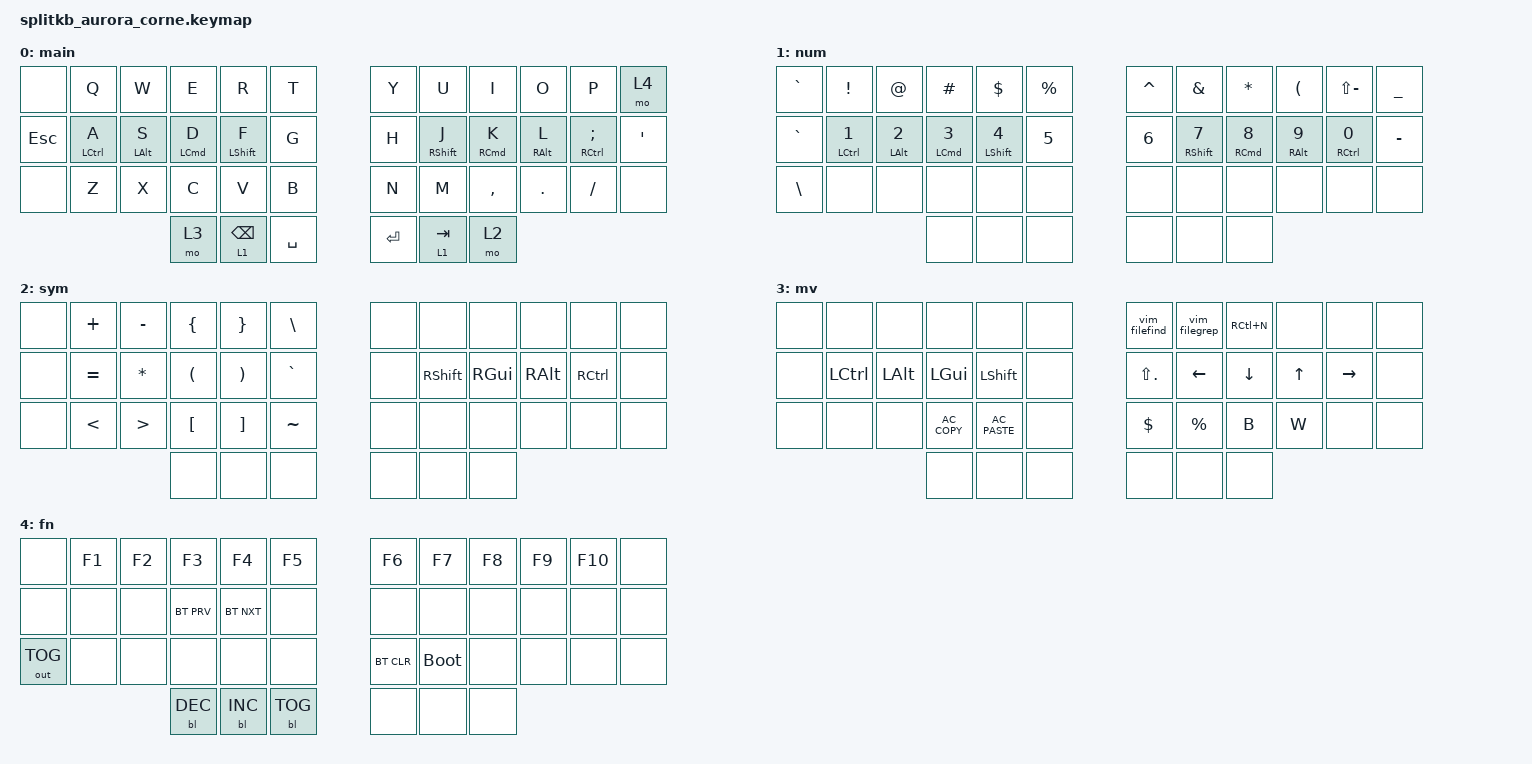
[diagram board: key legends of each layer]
/*
 * Copyright (c) 2020 The ZMK Contributors
 *
 * SPDX-License-Identifier: MIT
 */

#include <behaviors.dtsi>
#include <dt-bindings/zmk/backlight.h>
#include <dt-bindings/zmk/bt.h>
#include <dt-bindings/zmk/keys.h>
#include <dt-bindings/zmk/outputs.h>

&mt {
    tapping-term-ms = <400>;
    flavor = "balanced";
};

/ {
    macros {
        vim_filefind: vim_filefind {
            compatible = "zmk,behavior-macro";
            #binding-cells = <0>;
            bindings = <&kp SPACE &kp F &kp F>;
            label = "VIM_FILEFIND";
        };
        vim_filegrep: vim_filegrep {
            compatible = "zmk,behavior-macro";
            #binding-cells = <0>;
            bindings = <&kp SPACE &kp F &kp W>;
            label = "VIM_FILEGREP";
        };
    };

    keymap {
        compatible = "zmk,keymap";

        Main {
            // -----------------------------------------------------------------------------------------
            // |  TAB |  Q  |  W  |  E  |  R  |  T  |   |  Y  |  U   |  I  |  O  |  P  | BKSP |
            // | CTRL |  A  |  S  |  D  |  F  |  G  |   |  H  |  J   |  K  |  L  |  ;  |  '   |
            // | SHFT |  Z  |  X  |  C  |  V  |  B  |   |  N  |  M   |  ,  |  .  |  /  | ESC  |
            //                    | GUI | LWR | SPC |   | ENT | RSE  | ALT |

            bindings = <
&none       &kp Q               &kp W       &kp E       &kp R             &kp T        &kp Y    &kp U        &kp I       &kp O       &kp P                &mo 4
&kp ESCAPE  &mt LEFT_CONTROL A  &mt LALT S  &mt LCMD D  &mt LEFT_SHIFT F  &kp G        &kp H    &mt RSHFT J  &mt RCMD K  &mt RALT L  &mt RCTRL SEMICOLON  &kp SQT
&none       &kp Z               &kp X       &kp C       &kp V             &kp B        &kp N    &kp M        &kp COMMA   &kp DOT     &kp FSLH             &none
                                            &mo 3       &lt 1 BSPC        &kp SPACE    &kp RET  &lt 1 TAB    &mo 2
            >;

            label = "main";
        };

        Num {
            bindings = <
&kp GRAVE      &kp EXCL            &kp AT_SIGN        &kp HASH           &kp DOLLAR           &kp PERCENT     &kp CARET  &kp AMPS            &kp ASTRK          &kp LPAR           &kp LS(MINUS)               &kp UNDERSCORE
&kp GRAVE      &mt LCTRL NUMBER_1  &mt LALT NUMBER_2  &mt LCMD NUMBER_3  &mt LSHIFT NUMBER_4  &kp NUMBER_5    &kp N6     &mt RSHFT NUMBER_7  &mt RCMD NUMBER_8  &mt RALT NUMBER_9  &mt RIGHT_CONTROL NUMBER_0  &kp MINUS
&kp BACKSLASH  &none               &none              &none              &none                &none           &none      &none               &none              &none              &none                       &none
                                                      &none              &none                &none           &none      &none               &none
            >;

            label = "num";
        };

        Symbol {
            bindings = <
&none  &kp PLUS   &kp MINUS  &kp LBRC  &kp RBRC  &kp BSLH     &none  &none      &none     &none     &none      &none
&none  &kp EQUAL  &kp ASTRK  &kp LPAR  &kp RPAR  &kp GRAVE    &none  &kp RSHFT  &kp RGUI  &kp RALT  &kp RCTRL  &none
&none  &kp LT     &kp GT     &kp LBKT  &kp RBKT  &kp TILDE    &none  &none      &none     &none     &none      &none
                             &none     &none     &none        &none  &none      &none
            >;

            label = "sym";
        };

        Movement {
            bindings = <
&none  &none      &none     &none          &none           &none    &vim_filefind   &vim_filegrep   &kp RC(N)       &none         &none            &none
&none  &kp LCTRL  &kp LALT  &kp LGUI       &kp LSHFT       &none    &kp LS(PERIOD)  &kp LEFT_ARROW  &kp DOWN_ARROW  &kp UP_ARROW  &kp RIGHT_ARROW  &none
&none  &none      &none     &kp C_AC_COPY  &kp C_AC_PASTE  &none    &kp DOLLAR      &kp PERCENT     &kp B           &kp W         &none            &none
                            &none          &none           &none    &none           &none           &none
            >;

            label = "mv";
        };

        FN {
            bindings = <
&none         &kp F1  &kp F2  &kp F3      &kp F4      &kp F5        &kp F6      &kp F7       &kp F8  &kp F9  &kp F10  &none
&none         &none   &none   &bt BT_PRV  &bt BT_NXT  &none         &none       &none        &none   &none   &none    &none
&out OUT_TOG  &none   &none   &none       &none       &none         &bt BT_CLR  &bootloader  &none   &none   &none    &none
                              &bl BL_DEC  &bl BL_INC  &bl BL_TOG    &none       &none        &none
            >;

            label = "fn";
        };
    };
};
